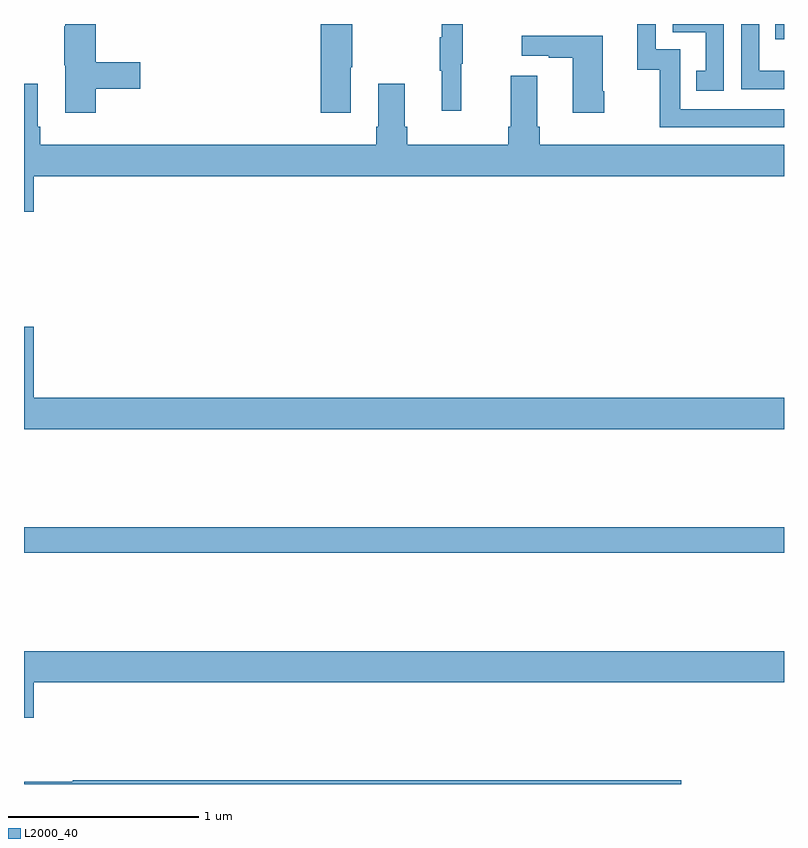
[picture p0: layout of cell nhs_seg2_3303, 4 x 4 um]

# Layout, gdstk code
import gdstk
lib = gdstk.Library(unit=1e-6, precision=1e-09)
def R(c, l, rs):  # rectangles x0, y0, x1, y1
    for r in rs: c.add(gdstk.rectangle(r[:2], r[2:], *l))
def P(c, l, *ps):  # polygons
    for p in ps: c.add(gdstk.Polygon(p, *l))
L2000_40 = (2000, 40)

nhs_seg2_3303 = lib.new_cell('nhs_seg2_3303')
R(nhs_seg2_3303, L2000_40, [(285,615.016,289,615.152), (288.955,617.721,289,617.8)])
P(nhs_seg2_3303, L2000_40, [(289,617.352),(288.453,617.352),(288.453,617.667),(288.324,617.667),(288.324,617.8),(288.227,617.8),(288.227,617.559),(288.345,617.559),(288.345,617.256),(289,617.256)],
  [(289,617.554),(288.87,617.554),(288.87,617.8),(288.774,617.8),(288.774,617.457),(289,617.457)],
  [(285.377,617.458),(285.613,617.458),(285.613,617.6),(285.377,617.6),(285.377,617.8),(285.218,617.8),(285.218,617.789),(285.211,617.789),(285.211,617.583),(285.218,617.583),(285.218,617.334),(285.377,617.334)],
  [(288.684,617.8),(288.414,617.8),(288.414,617.757),(288.587,617.757),(288.587,617.553),(288.538,617.553),(288.538,617.448),(288.684,617.448)],
  [(286.72,617.572),(286.728,617.572),(286.728,617.8),(286.562,617.8),(286.562,617.334),(286.72,617.334)],
  [(287.3,617.592),(287.308,617.592),(287.308,617.8),(287.198,617.8),(287.198,617.729),(287.187,617.729),(287.187,617.555),(287.198,617.555),(287.198,617.343),(287.3,617.343)],
  [(288.054,617.446),(288.046,617.446),(288.046,617.737),(287.619,617.737),(287.619,617.633),(287.762,617.633),(287.762,617.623),(287.888,617.623),(287.888,617.334),(288.054,617.334)],
  [(289,617.164),(287.714,617.164),(287.714,617.26),(287.701,617.26),(287.701,617.527),(287.561,617.527),(287.561,617.26),(287.549,617.26),(287.549,617.164),(287.018,617.164),(287.018,617.26),(287.005,617.26),(287.005,617.485),(286.865,617.485),(286.865,617.26),(286.853,617.26),(286.853,617.164),(285.086,617.164),(285.086,617.26),(285.073,617.26),(285.073,617.485),(285,617.485),(285,616.812),(285.052,616.812),(285.052,617),(289,617)],
  [(289,615.832),(285.052,615.832),(285.052,616.207),(285,616.207),(285,615.668),(289,615.668)],
  [(285.052,614.336),(289,614.336),(289,614.5),(285,614.5),(285,614.148),(285.052,614.148)],
  [(288.46,613.82),(285.256,613.82),(285.256,613.813),(285,613.813),(285,613.8),(288.46,613.8)])

lib.write_gds('nhs_seg2_3303.gds')
